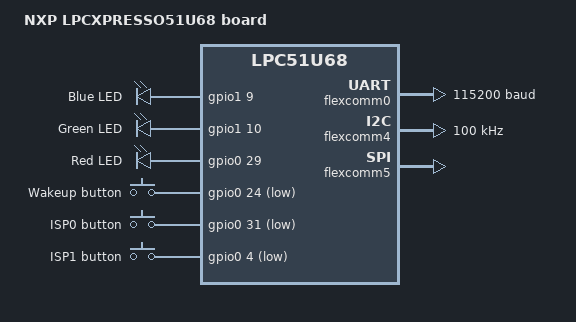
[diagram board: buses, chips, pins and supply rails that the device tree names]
/*
 * Copyright (c) 2021 metraTec GmbH
 *
 * SPDX-License-Identifier: Apache-2.0
 */

/dts-v1/;

#include <nxp/nxp_lpc51u68.dtsi>
#include "lpcxpresso51u68-pinctrl.dtsi"
#include <zephyr/dt-bindings/input/input-event-codes.h>

/ {
	model = "NXP LPCXPRESSO51U68 board";
	compatible = "nxp,lpc51xxx","nxp,lpc";

	chosen {
		zephyr,sram = &sram0;
		zephyr,flash = &flash0;
		zephyr,console = &flexcomm0;
		zephyr,shell-uart = &flexcomm0;
	};

	aliases {
		led0 = &blue_led;
		led1 = &green_led;
		led2 = &red_led;
		sw0 = &btn_wk;
		sw1 = &isp0_button;
		sw2 = &isp1_button;
		usart-0 = &flexcomm0;
	};

	leds {
		compatible = "gpio-leds";
		blue_led: led_0 {
			gpios = <&gpio1 9 0>;
			label = "Blue LED";
		};
		green_led: led_1 {
			gpios = <&gpio1 10 0>;
			label = "Green LED";
		};
		red_led: led_2 {
			gpios = <&gpio0 29 0>;
			label = "Red LED";
		};
	};

	gpio-keys {
		compatible = "gpio-keys";
		btn_wk: button_0 {
			label = "Wakeup button";
			gpios = <&gpio0 24 GPIO_ACTIVE_LOW>;
			zephyr,code = <INPUT_KEY_WAKEUP>;
		};
		isp0_button: button_1 {
			label = "ISP0 button";
			gpios = <&gpio0 31 GPIO_ACTIVE_LOW>;
			zephyr,code = <INPUT_KEY_0>;
		};
		isp1_button: button_2 {
			label = "ISP1 button";
			gpios = <&gpio0 4 GPIO_ACTIVE_LOW>;
			zephyr,code = <INPUT_KEY_1>;
		};
	};
};

&flexcomm0 {
	status = "okay";
	compatible = "nxp,lpc-usart";
	current-speed = <115200>;
	pinctrl-0 = <&pinmux_flexcomm0_uart>;
	pinctrl-names = "default";
};

&flexcomm4 {
	status = "okay";
	compatible = "nxp,lpc-i2c";
	clock-frequency = <I2C_BITRATE_STANDARD>;
	pinctrl-0 = <&pinmux_flexcomm4_i2c>;
	pinctrl-names = "default";
	#address-cells = <1>;
	#size-cells = <0>;
};

&flexcomm5 {
	status = "okay";
	compatible = "nxp,lpc-spi";
	pinctrl-0 = <&pinmux_flexcomm5_spi>;
	pinctrl-names = "default";
	#address-cells = <1>;
	#size-cells = <0>;
};
